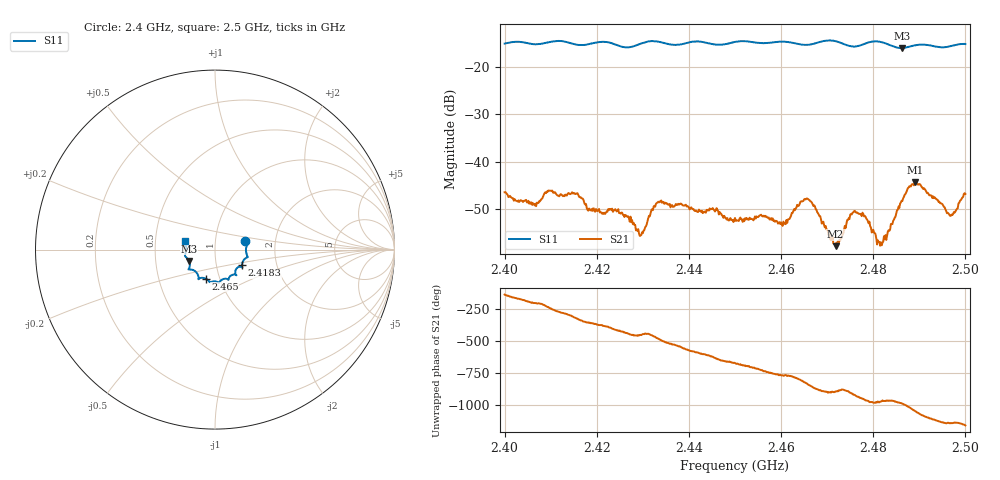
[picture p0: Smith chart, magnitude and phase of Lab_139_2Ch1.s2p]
# Hz S RI R 50
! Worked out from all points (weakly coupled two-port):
!   601 points, 2.4 GHz to 2.5 GHz, reference 50 ohm
!   highest |S21| = -44.35 dB at 2.4892 GHz (marker M1); lowest = -57.8 dB at 2.4718 GHz (marker M2)
!   lowest |S11| = -16.1 dB at 2.4862 GHz (marker M3), VSWR 1.37, Z = 37.1 - j4.79 ohm
!   |S11| at or under -10 dB: start of sweep to end of sweep
!   S12 and S22 are empty: the file has one direction only
!   S11 on the Smith chart (normalised r, x): 2.4 GHz: 1.40, +0.13; 2.4183 GHz: 1.33, -0.24; 2.465 GHz: 0.86, -0.29; 2.5 GHz: 0.71, +0.07
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2.4e9  0.1692 0.0458  -0.0033 -0.00342  0 0  0 0
2.406333e9  0.1728 0.00524  -0.00332 0.00129  0 0  0 0
2.409833e9  0.1789 -0.0339  -0.00235 0.00434  0 0  0 0
2.416667e9  0.1546 -0.0679  0.00382 0.00154  0 0  0 0
2.418333e9  0.15 -0.0869  0.00319 0.000185  0 0  0 0
2.424167e9  0.1415 -0.0955  0.00188 -0.00242  0 0  0 0
2.429667e9  0.1131 -0.1347  -9.41e-05 -0.00168  0 0  0 0
2.433333e9  0.1177 -0.141  -0.00197 -0.00322  0 0  0 0
2.45e9  0.0251 -0.1809  0.00173 0.00186  0 0  0 0
2.456e9  -0.000642 -0.1771  0.00258 -0.000576  0 0  0 0
2.4605e9  -0.0288 -0.1816  0.00142 -0.00184  0 0  0 0
2.465e9  -0.0526 -0.1616  -0.000988 -0.00387  0 0  0 0
2.466667e9  -0.0715 -0.1572  -0.00275 -0.00249  0 0  0 0
2.471833e9  -0.0913 -0.1617  -0.00128 -7.98e-05  0 0  0 0
2.476e9  -0.11 -0.1201  -0.00275 0.00123  0 0  0 0
2.478167e9  -0.1348 -0.1111  -0.00124 0.00238  0 0  0 0
2.481333e9  -0.1474 -0.1093  -0.000178 0.00141  0 0  0 0
2.483333e9  -0.1413 -0.0965  -0.000609 0.00179  0 0  0 0
2.486167e9  -0.1441 -0.0629  8.02e-05 0.00386  0 0  0 0
2.489167e9  -0.1636 -0.0403  0.00543 0.00269  0 0  0 0
2.496833e9  -0.1628 0.0261  0.00105 -0.00246  0 0  0 0
2.5e9  -0.167 0.0471  0.000431 -0.00453  0 0  0 0
